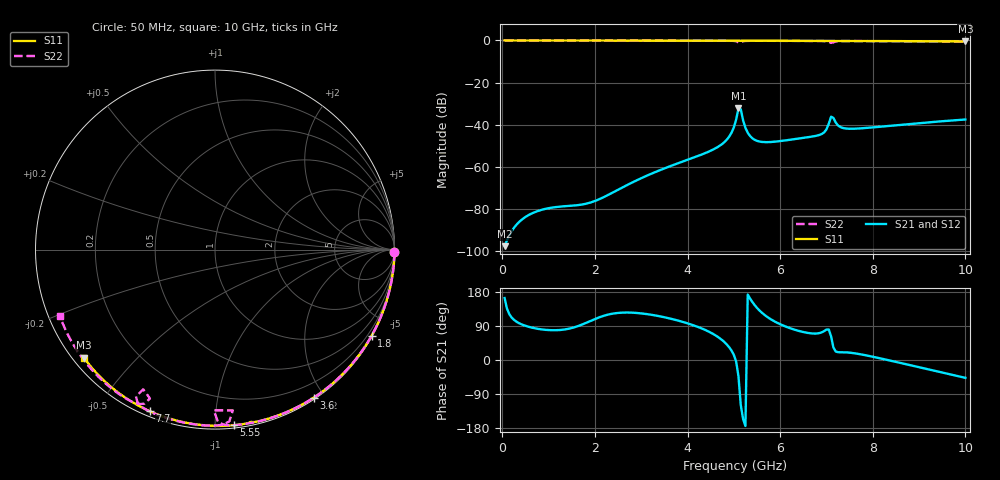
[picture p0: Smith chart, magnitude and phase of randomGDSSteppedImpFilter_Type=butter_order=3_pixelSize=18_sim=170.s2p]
! freq	dB(S11)	phase(S11)	dB(S12)	phase(S12)
!  dB(S21)	phase(S21)	dB(S22)	phase(S22)
!S-par simulation data
#  GHz  S  DB  R 50
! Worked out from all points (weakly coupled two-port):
!   200 points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, 50 MHz to 10 GHz, reference 50 ohm
!   highest |S21| = -32.21 dB at 5.1 GHz (marker M1); lowest = -97.6 dB at 50 MHz (marker M2)
!   lowest |S11| = -0.5 dB at 10 GHz (marker M3), VSWR 36.53, Z = 1.54 - j17.9 ohm
!   |S11| at or under -10 dB: nowhere
!   |S22| runs from -1.2 to 0.0 dB; largest |S21 - S12| = 0
!   S11 on the Smith chart (normalised r, x): 50 MHz: open; 1.8 GHz: 0.03, -3.89; 3.6 GHz: 0.02, -1.87; 5.55 GHz: 0.02, -1.11; 7.7 GHz: 0.02, -0.67; 10 GHz: 0.03, -0.36
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0.05  -0.00 -0.8  -97.60 163.5  -97.60 163.5  -0.00 -0.9
0.9  -0.02 -14.6  -80.06 80.0  -80.06 80.0  -0.02 -16.3
1.75  -0.04 -28.1  -77.74 94.9  -77.74 94.9  -0.04 -31.5
1.8  -0.04 -28.9  -77.51 97.5  -77.51 97.5  -0.04 -32.3
3.4  -0.07 -53.4  -61.58 115.3  -61.58 115.3  -0.08 -59.7
3.6  -0.08 -56.3  -59.86 110.1  -59.86 110.1  -0.09 -63.0
4.7  -0.11 -72.2  -49.87 57.0  -49.87 57.0  -0.13 -81.1
4.9  -0.11 -75.1  -45.60 33.5  -45.60 33.5  -0.15 -84.8
5.05  -0.13 -77.3  -37.53 -4.0  -37.53 -4.0  -0.35 -89.0
5.1  -0.17 -78.0  -32.21 -43.2  -32.21 -43.2  -0.96 -90.4
5.15  -0.17 -78.3  -32.66 -119.2  -32.66 -119.2  -0.90 -83.7
5.2  -0.14 -79.0  -37.92 -156.0  -37.92 -156.0  -0.35 -85.2
5.3  -0.13 -80.5  -43.77 172.9  -43.77 172.9  -0.19 -88.2
5.55  -0.14 -83.9  -47.94 131.1  -47.94 131.1  -0.17 -92.9
6.7  -0.19 -99.2  -45.56 69.9  -45.56 69.9  -0.23 -110.8
6.95  -0.21 -102.5  -43.60 76.3  -43.60 76.3  -0.32 -115.6
7  -0.21 -103.1  -42.19 80.2  -42.19 80.2  -0.40 -116.9
7.1  -0.23 -104.4  -36.18 62.4  -36.18 62.4  -1.16 -117.2
7.3  -0.23 -106.9  -41.07 20.4  -41.07 20.4  -0.33 -117.1
7.7  -0.26 -112.0  -41.77 15.9  -41.77 15.9  -0.30 -123.8
8.35  -0.31 -120.2  -40.53 -0.8  -40.53 -0.8  -0.35 -133.3
10  -0.48 -140.5  -37.50 -47.1  -37.50 -47.1  -0.54 -157.0
